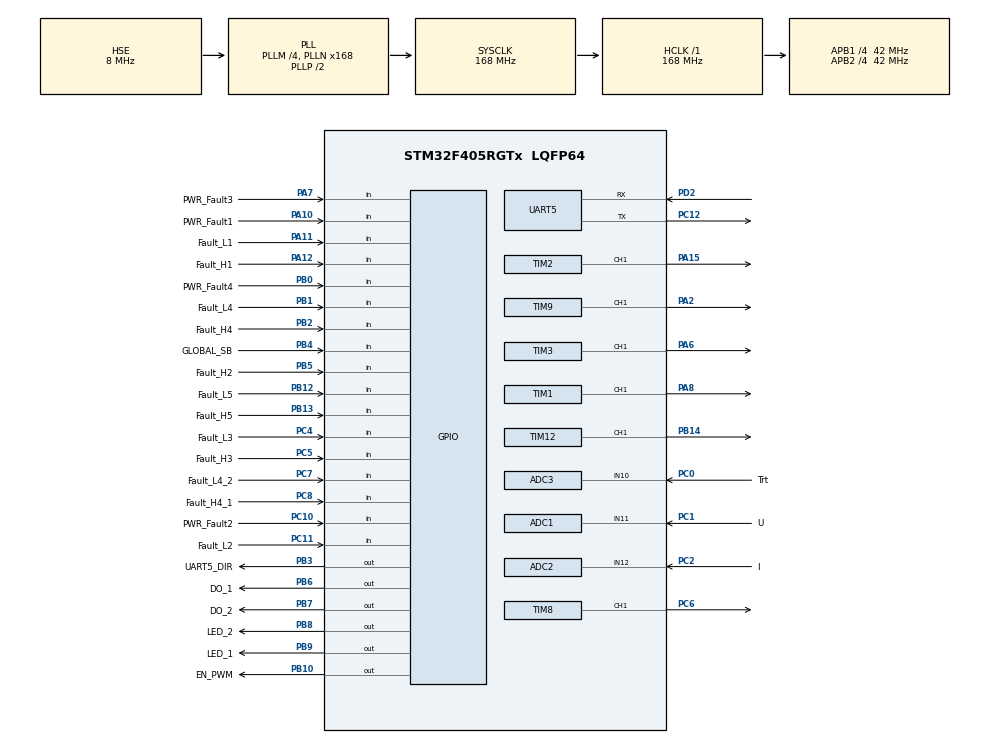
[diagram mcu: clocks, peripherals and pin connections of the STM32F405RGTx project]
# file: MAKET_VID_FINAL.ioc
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ADC1.Channel-6\#ChannelRegularConversion=ADC_CHANNEL_11
ADC1.DMAContinuousRequests=ENABLE
ADC1.ExternalTrigConv=ADC_EXTERNALTRIGCONV_T4_CC4
ADC1.Mode=ADC_TRIPLEMODE_REGSIMULT
ADC1.NbrOfConversionFlag=1
ADC1.Rank-6\#ChannelRegularConversion=1
ADC1.SamplingTime-6\#ChannelRegularConversion=ADC_SAMPLETIME_3CYCLES
ADC1.ScanConvMode=ENABLE
ADC1.master=1
ADC2.Channel-0\#ChannelRegularConversion=ADC_CHANNEL_12
ADC2.ClockPrescaler=ADC_CLOCK_SYNC_PCLK_DIV2
ADC2.ContinuousConvMode=DISABLE
ADC2.DMAAccessMode=ADC_DMAACCESSMODE_1
ADC2.DMAContinuousRequests=DISABLE
ADC2.Mode=ADC_TRIPLEMODE_REGSIMULT
ADC2.NbrOfConversion=1
ADC2.NbrOfConversionFlag=1
ADC2.Rank-0\#ChannelRegularConversion=1
ADC2.SamplingTime-0\#ChannelRegularConversion=ADC_SAMPLETIME_3CYCLES
ADC2.ScanConvMode=ENABLE
ADC3.Channel-0\#ChannelRegularConversion=ADC_CHANNEL_10
ADC3.DMAAccessMode=ADC_DMAACCESSMODE_1
ADC3.Mode=ADC_TRIPLEMODE_REGSIMULT
ADC3.NbrOfConversion=1
ADC3.NbrOfConversionFlag=1
ADC3.Rank-0\#ChannelRegularConversion=1
ADC3.SamplingTime-0\#ChannelRegularConversion=ADC_SAMPLETIME_3CYCLES
Dma.ADC1.0.Direction=DMA_PERIPH_TO_MEMORY
Dma.ADC1.0.FIFOMode=DMA_FIFOMODE_DISABLE
Dma.ADC1.0.Instance=DMA2_Stream0
Dma.ADC1.0.MemDataAlignment=DMA_MDATAALIGN_HALFWORD
Dma.ADC1.0.MemInc=DMA_MINC_ENABLE
Dma.ADC1.0.Mode=DMA_CIRCULAR
Dma.ADC1.0.PeriphDataAlignment=DMA_PDATAALIGN_HALFWORD
Dma.ADC1.0.PeriphInc=DMA_PINC_DISABLE
Dma.ADC1.0.Priority=DMA_PRIORITY_LOW
Dma.Request0=ADC1
Mcu.Family=STM32F4
Mcu.Name=STM32F405RGTx
Mcu.Package=LQFP64
NVIC.PriorityGroup=NVIC_PRIORITYGROUP_4
NVIC.TIM1_CC_IRQn=true\:0\:0\:false\:false\:true\:true\:true\:true
NVIC.TIM1_UP_TIM10_IRQn=true\:1\:0\:true\:false\:true\:true\:true\:true
NVIC.TIM8_CC_IRQn=true\:0\:0\:false\:false\:true\:true\:true\:true
NVIC.TIM8_UP_TIM13_IRQn=true\:1\:0\:true\:false\:true\:true\:true\:true
NVIC.UART5_IRQn=true\:4\:0\:true\:false\:true\:true\:true\:true
PA10.GPIO_Label=PWR_Fault1
PA10.Signal=GPIO_Input
PA11.GPIO_Label=Fault_L1
PA11.Signal=GPIO_Input
PA12.GPIO_Label=Fault_H1
PA12.Signal=GPIO_Input
PA13.Mode=Serial_Wire
PA13.Signal=SYS_JTMS-SWDIO
PA14.Mode=Serial_Wire
PA14.Signal=SYS_JTCK-SWCLK
PA15.GPIO_ModeDefaultPP=GPIO_MODE_AF_PP
PA15.Signal=S_TIM2_CH1_ETR
PA2.GPIO_ModeDefaultPP=GPIO_MODE_AF_PP
PA2.Signal=S_TIM9_CH1
PA6.Signal=S_TIM3_CH1
PA7.GPIO_Label=PWR_Fault3
PA7.Signal=GPIO_Input
PA8.GPIO_PuPd=GPIO_NOPULL
PA8.Signal=S_TIM1_CH1
PB0.GPIO_Label=PWR_Fault4
PB0.Signal=GPIO_Input
PB1.GPIO_Label=Fault_L4
PB1.Signal=GPIO_Input
PB10.GPIO_Label=EN_PWM
PB10.Signal=GPIO_Output
PB12.GPIO_Label=Fault_L5
PB12.Signal=GPIO_Input
PB13.GPIO_Label=Fault_H5
PB13.Signal=GPIO_Input
PB14.Signal=S_TIM12_CH1
PB2.GPIO_Label=Fault_H4
PB2.Signal=GPIO_Input
PB3.GPIO_Label=UART5_DIR
PB3.GPIO_PuPd=GPIO_NOPULL
PB3.Signal=GPIO_Output
PB4.GPIO_Label=GLOBAL_SB
PB4.Signal=GPIO_Input
PB5.GPIO_Label=Fault_H2
PB5.Signal=GPIO_Input
PB6.GPIO_Label=DO_1
PB6.Signal=GPIO_Output
PB7.GPIO_Label=DO_2
PB7.Signal=GPIO_Output
PB8.GPIO_Label=LED_2
PB8.Signal=GPIO_Output
PB9.GPIO_Label=LED_1
PB9.Signal=GPIO_Output
PC0.GPIO_Label=Trt
PC0.Signal=ADCx_IN10
PC1.GPIO_Label=U
PC1.Signal=ADCx_IN11
PC10.GPIO_Label=PWR_Fault2
PC10.Signal=GPIO_Input
PC11.GPIO_Label=Fault_L2
PC11.Signal=GPIO_Input
PC12.Mode=Asynchronous
PC12.Signal=UART5_TX
PC2.GPIO_Label=I
PC2.Signal=ADCx_IN12
PC4.GPIO_Label=Fault_L3
PC4.Signal=GPIO_Input
PC5.GPIO_Label=Fault_H3
PC5.Signal=GPIO_Input
PC6.Signal=S_TIM8_CH1
PC7.GPIO_Label=Fault_L4_2
PC7.Signal=GPIO_Input
PC8.GPIO_Label=Fault_H4_1
PC8.Signal=GPIO_Input
PD2.Mode=Asynchronous
PD2.Signal=UART5_RX
PH0-OSC_IN.Mode=HSE-External-Oscillator
PH0-OSC_IN.Signal=RCC_OSC_IN
PH1-OSC_OUT.Mode=HSE-External-Oscillator
PH1-OSC_OUT.Signal=RCC_OSC_OUT
ProjectManager.HeapSize=0x200
ProjectManager.StackSize=0x400
ProjectManager.TargetToolchain=STM32CubeIDE
RCC.48MHZClocksFreq_Value=84000000
RCC.AHBFreq_Value=168000000
RCC.APB1CLKDivider=RCC_HCLK_DIV4
RCC.APB1Freq_Value=42000000
RCC.APB1TimFreq_Value=84000000
RCC.APB2CLKDivider=RCC_HCLK_DIV4
RCC.APB2Freq_Value=42000000
RCC.APB2TimFreq_Value=84000000
RCC.CortexFreq_Value=168000000
RCC.HCLKFreq_Value=168000000
RCC.HSE_VALUE=8000000
RCC.HSI_VALUE=16000000
RCC.LSE_VALUE=32768
RCC.PLLM=4
RCC.PLLN=168
RCC.PLLSourceVirtual=RCC_PLLSOURCE_HSE
RCC.SYSCLKFreq_VALUE=168000000
RCC.SYSCLKSource=RCC_SYSCLKSOURCE_PLLCLK
RCC.VCOOutputFreq_Value=336000000
SH.ADCx_IN10.0=ADC3_IN10,IN10
SH.ADCx_IN11.0=ADC1_IN11,IN11
SH.ADCx_IN12.0=ADC2_IN12,IN12
SH.S_TIM12_CH1.0=TIM12_CH1,PWM Generation1 CH1
SH.S_TIM1_CH1.0=TIM1_CH1,PWM Generation1 CH1
SH.S_TIM2_CH1_ETR.0=TIM2_CH1,PWM Generation1 CH1
SH.S_TIM3_CH1.0=TIM3_CH1,PWM Generation1 CH1
SH.S_TIM8_CH1.0=TIM8_CH1,PWM Generation1 CH1
SH.S_TIM9_CH1.0=TIM9_CH1,PWM Generation1 CH1
TIM1.BreakState=TIM_BREAK_DISABLE
TIM1.Channel-PWM\ Generation1\ CH1=TIM_CHANNEL_1
TIM1.CounterMode=TIM_COUNTERMODE_UP
TIM1.OCIdleState_1=TIM_OCIDLESTATE_RESET
TIM1.OCPolarity_1=TIM_OCPOLARITY_HIGH
TIM1.Period=8400-1
TIM1.Prescaler=4-1
TIM1.TIM_MasterOutputTrigger=TIM_TRGO_ENABLE
TIM1.TIM_MasterSlaveMode=TIM_MASTERSLAVEMODE_DISABLE
TIM12.Channel-PWM\ Generation1\ CH1=TIM_CHANNEL_1
TIM12.Period=4200-1
TIM12.Prescaler=4-1
TIM2.Channel-PWM\ Generation1\ CH1=TIM_CHANNEL_1
TIM2.OCPolarity_1=TIM_OCPOLARITY_HIGH
TIM2.Period=8400-1
TIM2.Prescaler=4-1
TIM3.Channel-PWM\ Generation1\ CH1=TIM_CHANNEL_1
TIM3.Period=8400-1
TIM3.Prescaler=4-1
TIM4.Channel-Output\ Compare4\ No\ Output=TIM_CHANNEL_4
TIM4.OCMode_4=TIM_OCMODE_TOGGLE
TIM4.Period=8400-1
TIM4.Prescaler=4-1
TIM8.Channel-PWM\ Generation1\ CH1=TIM_CHANNEL_1
TIM8.Period=4200-1
TIM8.Prescaler=4-1
TIM9.Channel-PWM\ Generation1\ CH1=TIM_CHANNEL_1
TIM9.OCPolarity_1=TIM_OCPOLARITY_HIGH
TIM9.Period=8400-1
TIM9.Prescaler=4-1
UART5.VirtualMode=Asynchronous
VP_TIM12_VS_ClockSourceINT.Mode=Internal
VP_TIM1_VS_ClockSourceINT.Mode=Internal
VP_TIM2_VS_ClockSourceINT.Mode=Internal
VP_TIM3_VS_ClockSourceINT.Mode=Internal
VP_TIM4_VS_ClockSourceINT.Mode=Internal
VP_TIM4_VS_ClockSourceITR.Mode=TriggerSource_ITR0
VP_TIM4_VS_ControllerModeGated.Mode=Gated Mode
VP_TIM4_VS_no_output4.Mode=Output Compare4 No Output
VP_TIM8_VS_ClockSourceINT.Mode=Internal
VP_TIM9_VS_ClockSourceINT.Mode=Internal
board=custom

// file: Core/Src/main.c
/* USER CODE BEGIN Header */
/**
 ******************************************************************************
 * @file           : main.c
 * @brief          : Main program body
 ******************************************************************************
 * @attention
 *
 * Copyright (c) 2024 STMicroelectronics.
 * All rights reserved.
 *
 * This software is licensed under terms that can be found in the LICENSE file
 * in the root directory of this software component.
 * If no LICENSE file comes with this software, it is provided AS-IS.
 *
 ******************************************************************************
 */
/* USER CODE END Header */
#include "main.h"
#include "adc.h"
#include "dma.h"
#include "tim.h"
#include "usart.h"
#include "gpio.h"

/* USER CODE BEGIN PV */
uint16_t dout_state_mdb = 0;

uint32_t LED_1_cnt;

uint16_t U_DC_buf[MEAN_BUF_SIZE];
uint32_t U_DC_sum;
uint32_t U_DC_mean;

uint16_t I_DC_buf[MEAN_BUF_SIZE];
uint32_t I_DC_sum;
uint32_t I_DC_mean;

int32_t EEPROM_Start_Cnt;
//Definition of non-bloking timers
TIM_NB_TypeDef main_timer;
TIM_NB_TypeDef modbus_timer;

float zad_freq = PFM_MAX_FREQ;
float zad_u = 0;
float targ_u = 0;
float zad_u_PC = 0;
float down_targ_volt = DOWN_TARGET_VOLT;
float zad_phase = 90;
float zad_phase_old = 0;

uint8_t autocomp_enable = 0;
uint8_t PC_Start_flag = 0;
float calc_os_u;

float zad_amp = 0;

float voltage_avg;

Device_State_TypeDef State;
Device_State_TypeDef Old_State;
uint32_t time_tmp;

uint8_t init_err;
uint16_t Device_Error;

uint32_t tmp_ch2_phase = SOFTSW_CH2_PHASE;
uint32_t tmp_ch3_phase = SOFTSW_CH3_PHASE;
uint32_t tmp_ch4_phase = SOFTSW_CH4_PHASE;

float HardSw_Duty = HARDSW_DUTY;

Button_TypeDef Button_1;
Button_TypeDef PC_Button;

/* USER CODE END PV */

void SystemClock_Config(void);

int main(void)
{

  /* MCU Configuration--------------------------------------------------------*/

  /* Reset of all peripherals, Initializes the Flash interface and the Systick. */
  HAL_Init();

  /* Configure the system clock */
  SystemClock_Config();

  /* Initialize all configured peripherals */
  MX_GPIO_Init();
  MX_DMA_Init();
  MX_TIM1_Init();
  MX_TIM3_Init();
  MX_ADC1_Init();
  MX_ADC2_Init();
  MX_TIM2_Init();
  MX_TIM9_Init();
  MX_TIM8_Init();
  MX_TIM12_Init();
  MX_ADC3_Init();
  MX_UART5_Init();
  MX_TIM4_Init();
  /* USER CODE BEGIN 2 */

	//Неблокирующий таймер выполнения основного кода
	TIM_NB_Init(&main_timer, 1, main_timer_function);
	TIM_NB_Start(&main_timer, MULTIPLE_DELAY);
	//Неблокирующий таймер для работы модбас
	TIM_NB_Init(&modbus_timer, 10, modbus_timer_function);
	TIM_NB_Start(&modbus_timer, MULTIPLE_DELAY);

	//Modbus инициализация
	ModbusRTU_Init();

	//Задежка инициализации
	HAL_Delay(500);

  /* USER CODE END 2 */

  /* Infinite loop */
	while (1) {

    /* USER CODE BEGIN 3 */
		TIM_NB_Check(&main_timer);
		TIM_NB_Check(&modbus_timer);
	}
  /* USER CODE END 3 */
}

void SystemClock_Config(void)
{
  RCC_OscInitTypeDef RCC_OscInitStruct = {0};
  RCC_ClkInitTypeDef RCC_ClkInitStruct = {0};

  /** Configure the main internal regulator output voltage
  */
  __HAL_RCC_PWR_CLK_ENABLE();
  __HAL_PWR_VOLTAGESCALING_CONFIG(PWR_REGULATOR_VOLTAGE_SCALE1);

  /** Initializes the RCC Oscillators according to the specified parameters
  * in the RCC_OscInitTypeDef structure.
  */
  RCC_OscInitStruct.OscillatorType = RCC_OSCILLATORTYPE_HSE;
  RCC_OscInitStruct.HSEState = RCC_HSE_ON;
  RCC_OscInitStruct.PLL.PLLState = RCC_PLL_ON;
  RCC_OscInitStruct.PLL.PLLSource = RCC_PLLSOURCE_HSE;
  RCC_OscInitStruct.PLL.PLLM = 4;
  RCC_OscInitStruct.PLL.PLLN = 168;
  RCC_OscInitStruct.PLL.PLLP = RCC_PLLP_DIV2;
  RCC_OscInitStruct.PLL.PLLQ = 4;
  if (HAL_RCC_OscConfig(&RCC_OscInitStruct) != HAL_OK)
  {
    Error_Handler();
  }

  /** Initializes the CPU, AHB and APB buses clocks
  */
  RCC_ClkInitStruct.ClockType = RCC_CLOCKTYPE_HCLK|RCC_CLOCKTYPE_SYSCLK
                              |RCC_CLOCKTYPE_PCLK1|RCC_CLOCKTYPE_PCLK2;
  RCC_ClkInitStruct.SYSCLKSource = RCC_SYSCLKSOURCE_PLLCLK;
  RCC_ClkInitStruct.AHBCLKDivider = RCC_SYSCLK_DIV1;
  RCC_ClkInitStruct.APB1CLKDivider = RCC_HCLK_DIV4;
  RCC_ClkInitStruct.APB2CLKDivider = RCC_HCLK_DIV4;

  if (HAL_RCC_ClockConfig(&RCC_ClkInitStruct, FLASH_LATENCY_5) != HAL_OK)
  {
    Error_Handler();
  }
}

/* USER CODE BEGIN 4 */

void HAL_TIM_PeriodElapsedCallback(TIM_HandleTypeDef *htim) {

	if (htim == &htim8) {

		//Регуляторы и рампы работают в прерывании таймера
		//потому что SysTick не обеспечивает малые постоянные времени
		if(State == Work){
			//Ramp_Process(&Ramp_Freq);
			Ramp_Process(&Ramp_Amp);
			Regulator_Process(&Reg_U);

		}

	}

}

void SoftSw_PWM_Channels_OFF(void) {
	//Функция для снятия Ш ?Ма на резонансные преобразователи

	TIM_CCxChannelCmd(TIM1, TIM_CHANNEL_1, TIM_CCx_DISABLE);
	TIM_CCxChannelCmd(TIM2, TIM_CHANNEL_1, TIM_CCx_DISABLE);
	TIM_CCxChannelCmd(TIM3, TIM_CHANNEL_1, TIM_CCx_DISABLE);
	TIM_CCxChannelCmd(TIM9, TIM_CHANNEL_1, TIM_CCx_DISABLE);

	TIM1->BDTR &= ~(TIM_BDTR_MOE);
	TIM1->BDTR &= ~(TIM_BDTR_OSSI);
	TIM2->BDTR &= ~(TIM_BDTR_MOE);
	TIM2->BDTR &= ~(TIM_BDTR_OSSI);
	TIM3->BDTR &= ~(TIM_BDTR_MOE);
	TIM3->BDTR &= ~(TIM_BDTR_OSSI);
	TIM9->BDTR &= ~(TIM_BDTR_MOE);
	TIM9->BDTR &= ~(TIM_BDTR_OSSI);

}

void SoftSw_PWM_Channels_ON(void) {
	//Функция для выдачи ШиМа на резонансные преобразователи

	TIM_CCxChannelCmd(TIM1, TIM_CHANNEL_1, TIM_CCx_ENABLE);
	TIM_CCxChannelCmd(TIM2, TIM_CHANNEL_1, TIM_CCx_ENABLE);
	TIM_CCxChannelCmd(TIM3, TIM_CHANNEL_1, TIM_CCx_ENABLE);
	TIM_CCxChannelCmd(TIM9, TIM_CHANNEL_1, TIM_CCx_ENABLE);

	TIM1->BDTR |= (TIM_BDTR_MOE);
	TIM2->BDTR |= (TIM_BDTR_MOE);
	TIM3->BDTR |= (TIM_BDTR_MOE);
	TIM9->BDTR |= (TIM_BDTR_MOE);

}

void SoftSw_PWM_Channels_UpdateDuty(float New_Duty){

	uint32_t duty_tmp;

	if(New_Duty > 1){
		New_Duty = 1;
	}
	if(New_Duty < 0){
		New_Duty = 0;
	}

	duty_tmp = TIM1->ARR * New_Duty;

	if (TIM1->CCR1 != duty_tmp) {
		//common
		TIM1->CCR1 = duty_tmp;
		TIM2->CCR1 = duty_tmp;
		TIM3->CCR1 = duty_tmp;
		TIM9->CCR1 = duty_tmp;
	}

}

void SoftSw_PWM_Channels_UpdatePhase(uint8_t Tim_Ch_num ,uint32_t New_Phase){

	uint32_t phase_tmp;

	switch(Tim_Ch_num){
	//case TIM_CHANNEL_1:
	//	phase_tmp = TIM1->ARR - (uint32_t) ((((float) TIM1->ARR / 360)) * New_Phase) - ZERO_PHASE;
	//	if(TIM1->CCR1 != phase_tmp){
	//		TIM1->CCR1 = phase_tmp;
	//	}
	//	break;
	case TIM_CHANNEL_2:
		phase_tmp = TIM1->ARR - (uint32_t) ((((float) TIM1->ARR / 360)) * New_Phase) - ZERO_PHASE;
		if(TIM1->CCR2 != phase_tmp){
			TIM1->CCR2 = phase_tmp;
		}
		break;
	case TIM_CHANNEL_3:
		phase_tmp = TIM1->ARR - (uint32_t) ((((float) TIM1->ARR / 360)) * New_Phase) - ZERO_PHASE;
		if(TIM1->CCR3 != phase_tmp){
			TIM1->CCR3 = phase_tmp;
		}
		break;
	case TIM_CHANNEL_4:
		phase_tmp = TIM1->ARR - (uint32_t) ((((float) TIM1->ARR / 360)) * New_Phase) - ZERO_PHASE;
		if(TIM1->CCR4 != phase_tmp){
			TIM1->CCR4 = phase_tmp;
		}
		break;
	default:

		break;
	}

}

void SoftSw_PWM_Channels_UpdateFreq(uint32_t New_Freq){

	uint32_t freq_tmp;

	//Ограничение макс частоты
	if (New_Freq > SOFTSW_MAX_FREQ) {
		New_Freq = SOFTSW_MAX_FREQ;
	}
	//Ограничение мин частоты
	if (New_Freq < SOFTSW_MIN_FREQ) {
		New_Freq = SOFTSW_MIN_FREQ;
	}

	freq_tmp = TIMER_CLK_FREQ / New_Freq;

	if(TIM1->ARR != freq_tmp){
		TIM1->ARR = freq_tmp;
		TIM2->ARR = freq_tmp;
		TIM3->ARR = freq_tmp;
		TIM9->ARR = freq_tmp;
		//АЦП!
		TIM4->ARR = freq_tmp;

		if(TIM1->CNT >= TIM1->ARR){
			TIM1->CNT = 0;
		}
		if(TIM2->CNT >= TIM2->ARR){
			TIM2->CNT = 0;
		}
		if(TIM3->CNT >= TIM3->ARR){
			TIM3->CNT = 0;
		}
		if(TIM9->CNT >= TIM9->ARR){
			TIM9->CNT = 0;
		}
		if(TIM4->CNT >= TIM4->ARR){
			TIM4->CNT = 0;
		}
	}

}

void HardSw_PWM_Channels_ON(void) {
	//Эта функция нужна для усправления выдачей импульсов 8 таймера

	TIM_CCxChannelCmd(TIM8, TIM_CHANNEL_1, TIM_CCx_ENABLE);
	//TIM_CCxChannelCmd(TIM12, TIM_CHANNEL_1, TIM_CCx_ENABLE);

	TIM8->BDTR |= (TIM_BDTR_MOE);
	//TIM12->BDTR |= (TIM_BDTR_MOE);

}
void HardSw_PWM_Channels_OFF(void) {
	//Эта функция нужна для усправления выдачей импульсов 8 таймера

	TIM_CCxChannelCmd(TIM8, TIM_CHANNEL_1, TIM_CCx_DISABLE);
	TIM_CCxChannelCmd(TIM12, TIM_CHANNEL_1, TIM_CCx_DISABLE);

	TIM8->BDTR &= ~(TIM_BDTR_MOE);
	TIM8->BDTR &= ~(TIM_BDTR_OSSI);
	TIM12->BDTR &= ~(TIM_BDTR_MOE);
	TIM12->BDTR &= ~(TIM_BDTR_OSSI);
}

void HardSw_PWM_Channels_UpdateDuty(float New_Duty){

	uint32_t duty_tmp;

	if(New_Duty > 1){
		New_Duty = 1;
	}
	if(New_Duty < 0){
		New_Duty = 0;
	}

	duty_tmp = TIM8->ARR * New_Duty;

	if (TIM8->CCR1 != duty_tmp) {
		//common
		TIM8->CCR1 = duty_tmp;
		TIM12->CCR1 = duty_tmp;
	}

}

void HardSw_PWM_Channels_UpdatePhase(uint8_t Tim_Ch_num ,uint32_t New_Phase){

	uint32_t phase_tmp;

	switch(Tim_Ch_num){
	//case TIM_CHANNEL_1:
	//	phase_tmp = TIM8->ARR - (uint32_t) ((((float) TIM8->ARR / 360)) * New_Phase) - ZERO_PHASE;
	//	if(TIM8->CCR1 != phase_tmp){
	//		TIM8->CCR1 = phase_tmp;
	//	}
	//	break;
	case TIM_CHANNEL_2:
		phase_tmp = TIM8->ARR - (uint32_t) ((((float) TIM8->ARR / 360)) * New_Phase) - ZERO_PHASE;
		if(TIM8->CCR2 != phase_tmp){
			TIM8->CCR2 = phase_tmp;
		}
		break;
	case TIM_CHANNEL_3:
		phase_tmp = TIM8->ARR - (uint32_t) ((((float) TIM8->ARR / 360)) * New_Phase) - ZERO_PHASE;
		if(TIM8->CCR3 != phase_tmp){
			TIM8->CCR3 = phase_tmp;
		}
		break;
	case TIM_CHANNEL_4:
		phase_tmp = TIM8->ARR - (uint32_t) ((((float) TIM8->ARR / 360)) * New_Phase) - ZERO_PHASE;
		if(TIM8->CCR4 != phase_tmp){
			TIM8->CCR4 = phase_tmp;
		}
		break;
	default:

		break;
	}

}

void HardSw_PWM_Channels_UpdateFreq(uint32_t New_Freq){

	uint32_t freq_tmp;

	//Ограничение макс частоты
	if (New_Freq > HARDSW_MAX_FREQ) {
		New_Freq = HARDSW_MAX_FREQ;
	}
	//Ограничение мин частоты
	if (New_Freq < HARDSW_MIN_FREQ) {
		New_Freq = HARDSW_MIN_FREQ;
	}

	freq_tmp = TIMER_CLK_FREQ / New_Freq;

	if(TIM8->ARR != freq_tmp){
		TIM8->ARR = freq_tmp;
		TIM12->ARR = freq_tmp;

		if(TIM8->CNT >= TIM8->ARR){
			TIM8->CNT = 0;
		}
		if(TIM12->CNT >= TIM12->ARR){
			TIM12->CNT = 0;
		}
	}

}

void main_timer_function() {

	//Основная функция, где крутится вся логика

	//расчет среднего значения датчиков
	//для фильтрации
	MEAN_Signal(&U_mean, &U_Value, &U_mean_sum, U_mean_buf, MEAN_BUF_SIZE);
	MEAN_Signal(&I_mean, &I_Value, &I_mean_sum, I_mean_buf, MEAN_BUF_SIZE);

	//функции считывания входов и выдачи сигналов на выходы
	HW_Driver_DI_AI_Read();
	HW_Driver_DO_PWM_Out();

	//Светодиодная индикация состояния
	Device_Indication_Process();

	//Проверка ошибок
	if(CHECK_ERROR_EN){
		Device_Check_Error();
	}

	if(Device_Error > 0){
		State = Stop;
	}

	//По этому флагу разрешается работа доп стойки для жесткой коммутациии
	EN_OS_State = 1; // СМ�?РНОВ СКАЗАЛ ТАК НАДО!!!!
	if(EN_OS_State){
		autocomp_enable = 1;
	} else {
		autocomp_enable = 0;
	}

	//Основная стейт машина
	switch (State) {

	case Init:

		//не имеет смысла
		if(State != Old_State){
			time_tmp = millis();
			Old_State = State;
		}

		Button_1.State = &But_1_State;
		Button_1.delay = SB1_T_DELAY;
		Button_1.Old_State = OFF;
		Button_1.cnt = 0;

		PC_Button.State = &PC_Start_flag;
		PC_Button.delay = 100;
		PC_Button.Old_State = OFF;
		PC_Button.cnt = 0;

		init_err = Periph_Init();

		// инициализация рамп и регуляторов
		//Работают сейчас
		Ramp_Init(&Ramp_Amp, &zad_u, HV_MAX_VOLT, 0, 10, 1);
		Regulator_Init(&Reg_U, &Ramp_Amp.Out, &calc_os_u, 0.0005, 0.005, 0.8, 0, 0.8, 0);
		// Regulator_Init(&Reg_U, &Ramp_Amp.Out, &U_Instant, 0.0005, 0.005, 0.8, 0, 0.8, 0);
        // Regulator_Init(&Reg_U, &zad_u, &U_Instant, 0.0005, 0.005, 0.8, 0, 0.8, 0); // ТЕСТ
		//Не работают
		Ramp_Init(&Ramp_Freq, &zad_freq, PFM_MAX_FREQ, PFM_MIN_FREQ, 40, 1);
		Ramp_Init(&Ramp_Phase, &zad_phase, PFM_MAX_PHASE, PFM_MIN_PHASE, 1, 100);

		//Конфигурируем регистры таймеров на работу с нужной частотой
		SoftSw_PWM_Channels_UpdateFreq(SOFTSW_FREQ);
		SoftSw_PWM_Channels_UpdatePhase(TIM_CHANNEL_2, SOFTSW_CH2_PHASE);
		SoftSw_PWM_Channels_UpdatePhase(TIM_CHANNEL_3, SOFTSW_CH3_PHASE);
		SoftSw_PWM_Channels_UpdatePhase(TIM_CHANNEL_4, SOFTSW_CH4_PHASE);
		SoftSw_PWM_Channels_UpdateDuty(0);
		SoftSw_PWM_Channels_OFF();

		//Мне удобно так его проконфигурировать и потом выключить шим
		HardSw_PWM_Channels_UpdateFreq(HARDSW_FREQ);
		HardSw_PWM_Channels_UpdatePhase(TIM_CHANNEL_2, HARDSW_CH2_PHASE);
		HardSw_PWM_Channels_UpdateDuty(0);
		HardSw_PWM_Channels_OFF();

		if (init_err == 0) {
			State = Wait;
		} else {
			State = Error;
		}

		break;

	case Wait:

		if(ST_WAIT_EN){
			if(State != Old_State){
				time_tmp = millis();
				Old_State = State;
			}

			Button_Control(&Button_1, PreCharge);
			Button_Control(&PC_Button, PreCharge);

		} else {
			State = PreCharge;
		}

		break;

	case PreCharge:

		if(ST_PRECHARGE_EN){
			if(State != Old_State){
				time_tmp = millis();
				Old_State = State;
				DO_1_State = ON;
				DO_2_State = OFF;
			}

			Button_Control(&Button_1, Stop);
			Button_Control(&PC_Button, Stop);

			if(millis() - time_tmp >= T_PRECHARGE){
				DO_2_State = ON;
				time_tmp = millis();
			}

			if((millis() - time_tmp >= 500) && (DO_2_State == ON)){
				//DO_1_State = OFF; ВЫКЛЮЧАТЬ НЕ НУЖНО, Т.К. ПЕРЕДЕЛАЛ�? СХЕМУ ДЛЯ ЗАРЯДА КОНДЕНСАТОРОВ
				State = Delay;
			}

		} else {
			State = Delay;
		}

		break;

	case Delay:

		if(ST_DELAY_EN){
			if(State != Old_State){
				time_tmp = millis();
				Old_State = State;
			}

			Button_Control(&Button_1, Stop);
			Button_Control(&PC_Button, Stop);

			if(millis() - time_tmp >= T_DELAY){
				State = Work;
			}
		} else {
			State = Work;
		}

		break;

	case Work:

		if(ST_WORK_EN){
			if(State != Old_State){
				time_tmp = millis();

				EN_PWM_State = ON;

				//Включение шима
				if(SOFT_SW_EN){
					SoftSw_PWM_Channels_ON();
					SoftSw_PWM_Channels_UpdateDuty(SOFTSW_DUTY);
				}

				if(HARD_SW_EN){
					HardSw_PWM_Channels_ON();
					HardSw_PWM_Channels_UpdateDuty(HARDSW_DUTY);
				}

				Old_State = State;
			}

			//SoftSw_PWM_Channels_UpdatePhase(TIM_CHANNEL_2, tmp_ch2_phase);
			//SoftSw_PWM_Channels_UpdatePhase(TIM_CHANNEL_3, tmp_ch3_phase);
			//SoftSw_PWM_Channels_UpdatePhase(TIM_CHANNEL_4, tmp_ch4_phase);

			if(HARD_SW_EN)
			{
				//Разомкнутая система
				//HardSw_PWM_Channels_UpdateDuty(HardSw_Duty);

				//Замкнутая система
				HardSw_PWM_Channels_UpdateDuty(Reg_U.Out);

				if(millis() - time_tmp >= T_DELAY_WORK)
				{

					if(autocomp_enable)
					{
						if(targ_u != zad_u)
						{
							zad_u = targ_u;
						}
					}
					else
					{
						if(zad_u_PC != zad_u)
						{
							zad_u = zad_u_PC;
						}
					}

					if(zad_u >= HV_MAX_VOLT)
					{
						zad_u = HV_MAX_VOLT;
					}

					//targ_u = DOWN_TARGET_VOLT*DOWN_TV_KOEF;
					targ_u = down_targ_volt*DOWN_TV_KOEF;
				}
			}

			Button_Control(&Button_1, Stop);
			Button_Control(&PC_Button, Stop);

		} else {
			State = Stop;
		}

		break;

	case Stop:

		if(ST_STOP_EN){

			if(State != Old_State){
				time_tmp = millis();

				EN_PWM_State = OFF;
				//Отключение шима
				SoftSw_PWM_Channels_OFF();
				SoftSw_PWM_Channels_UpdateDuty(0);

				HardSw_PWM_Channels_OFF();
				HardSw_PWM_Channels_UpdateDuty(0);

				Ramp_Clear(&Ramp_Amp);
				//zad_amp = 0;

				zad_u = 0;
				Regulator_Clear(&Reg_U);

				DO_1_State = OFF;
				DO_2_State = OFF;

				Old_State = State;
			}

			if(Device_Error > 0){
				State = Error;
			} else {
				if(millis() - time_tmp >= T_STOP){
					State = Wait;
				}
			}

		} else {
			State = Wait;
		}

		break;

	case Error:

		if(ST_ERROR_EN){

			if(DO_1_State){
				DO_1_State = OFF;
			}

			if(DO_2_State){
				DO_2_State = OFF;
			}

			if(EN_PWM_State){
				EN_PWM_State = OFF;
			}

			//На всякий случай ещё раз выключаем шим
			SoftSw_PWM_Channels_OFF();
			SoftSw_PWM_Channels_UpdateDuty(0);

			HardSw_PWM_Channels_OFF();
			HardSw_PWM_Channels_UpdateDuty(0);

			if(Device_Error == 0){
				State = Wait;
			}

		} else {
			State = Wait;
		}

		break;

	default:
		break;

	}

}

void modbus_timer_function() {
	// обновление регистров MDB
	ModbusRTU_update_reg();
}

//-----NON BLOKING TIMER--------------------------------------------------------------------------
void TIM_NB_Init(TIM_NB_TypeDef *timer, uint32_t delay, void (*funptr)) {

	timer->delay = delay;
	timer->function = funptr;
}

void TIM_NB_Start(TIM_NB_TypeDef *timer, uint8_t mode) {

	if (timer->delay != 0) {
		timer->counter = millis();
		timer->state = mode;
	}
}

void TIM_NB_Stop(TIM_NB_TypeDef *timer) {

	if (timer->state != STOPPED) {
		timer->state = STOPPED;
	}
}

void TIM_NB_Check(TIM_NB_TypeDef *timer) {

	if (timer->state != STOPPED) {
		if (HAL_GetTick() - timer->counter >= timer->delay) {
			switch (timer->state) {
			case SINGLE_DELAY:
				timer->state = STOPPED;
				timer->counter = 0;
				timer->function();
				break;
			case MULTIPLE_DELAY:
				timer->counter = HAL_GetTick();
				timer->function();
				break;
			}
		}
	}
}

uint32_t millis() {
	return HAL_GetTick();
}
//-----NON BLOKING TIMER--------------------------------------------------------------------------

void LED_Control(LED_CMD_TypeDef Cmd, uint32_t Blink_Period, enum_state *LED_Name, uint32_t *LED_cnt) {

	if (Cmd == LED_OFF) {
		*LED_Name = OFF;
	} else if (Cmd == LED_ON) {
		*LED_Name = ON;
	} else if (Cmd == LED_BLINK) {
		if (HAL_GetTick() - *LED_cnt >= Blink_Period) {
			*LED_cnt = HAL_GetTick();
			if (*LED_Name == ON) {
				*LED_Name = OFF;
			} else {
				*LED_Name = ON;
			}
		}
	}

}

void Button_Control(Button_TypeDef *Button, uint8_t Target_state){

	if((*Button->State == ON) && (Button->Old_State == OFF)){
		if(millis() - Button->cnt >= Button->delay){
			Button->Old_State = ON;
			State = Target_state;
		}
	} else {
		if(*Button->State == OFF){
			Button->Old_State = OFF;
		}
		Button->cnt = millis();
	}

}

void Device_Indication_Process(){

	if (State == Work)
		LED_Control(LED_ON, 0, &LED_1_State, &LED_1_Cnt);
	else if ((State == Delay) || (State == PreCharge))
		LED_Control(LED_BLINK, 100, &LED_1_State, &LED_1_Cnt);
	else if (State == Wait)
		LED_Control(LED_BLINK, 500, &LED_1_State, &LED_1_Cnt);
	else if (State == Error)
		LED_Control(LED_OFF, 0, &LED_1_State, &LED_1_Cnt);
	else
		LED_Control(LED_OFF, 0, &LED_1_State, &LED_1_Cnt);

}

void Device_Check_Error(void){

	//Ошибка датчика тока
	if(CHECK_I_SENS_EN){
		if(I_Value < I_SENSOR_MIN_ADC){
			BIT_SET(Device_Error, 0);
		} else {
			//BIT_RESET(Device_Error, 0);
		}
		if(I_Value > I_SENSOR_MAX_ADC){
			BIT_SET(Device_Error, 0);
		} else {
			//BIT_RESET(Device_Error, 0);
		}
	}

	//Ошибки первого драйвера
	if(CHECK_DRW1_EN){
		if(CHECK_DRW_PWR){
			if(PWR_Fault1_State){
				BIT_SET(Device_Error, 1);
			}else {
				//BIT_RESET(Device_Error, 1);
			}
		}
		if(CHECK_DRW_HW){
			if(Fault_H1_State){
				BIT_SET(Device_Error, 6);
			}else {
				//BIT_RESET(Device_Error, 6);
			}
			if(Fault_L1_State){
				BIT_SET(Device_Error, 7);
			}else {
				//BIT_RESET(Device_Error, 7);
			}
		}
	}

	//Ошибки второго драйвера
	if(CHECK_DRW2_EN){
		if(CHECK_DRW_PWR){
			if(PWR_Fault2_State){
				BIT_SET(Device_Error, 2);
			}else {
				//BIT_RESET(Device_Error, 2);
			}
		}
		if(CHECK_DRW_HW){
			if(Fault_H2_State){
				BIT_SET(Device_Error, 8);
			}else {
				//BIT_RESET(Device_Error, 8);
			}
			if(Fault_L2_State){
				BIT_SET(Device_Error, 9);
			}else {
				//BIT_RESET(Device_Error, 9);
			}
		}
	}

	//Ошибки третьего драйвера
	if(CHECK_DRW3_EN){
		if(CHECK_DRW_PWR){
			if(PWR_Fault3_State){
				BIT_SET(Device_Error, 3);
			}else {
				//BIT_RESET(Device_Error, 3);
			}
		}
		if(CHECK_DRW_HW){
			if(Fault_H3_State){
				BIT_SET(Device_Error, 10);
			}else {
				//BIT_RESET(Device_Error, 10);
			}
			if(Fault_L3_State){
				BIT_SET(Device_Error, 11);
			}else {
				//BIT_RESET(Device_Error, 11);
			}
		}
	}

	//Ошибки четвертого драйвера
	if(CHECK_DRW4_EN){
		if(CHECK_DRW_PWR){
			if(PWR_Fault4_State){
				BIT_SET(Device_Error, 4);
			}else {
				//BIT_RESET(Device_Error, 4);
			}
		}
		if(CHECK_DRW_HW){
			if(Fault_H4_State){
				BIT_SET(Device_Error, 12);
			}else {
				//BIT_RESET(Device_Error, 12);
			}
			if(Fault_H4_1_State){
				BIT_SET(Device_Error, 12);
			}else {
				//BIT_RESET(Device_Error, 12);
			}
			if(Fault_L4_State){
				BIT_SET(Device_Error, 13);
			}else {
				//BIT_RESET(Device_Error, 13);
			}
			if(Fault_L4_2_State){
				BIT_SET(Device_Error, 13);
			}else {
				//BIT_RESET(Device_Error, 13);
			}
		}
	}

	//Ошибки пятого драйвера
	if(CHECK_DRW5_EN){
		if(CHECK_DRW_PWR){
			if(PWR_Fault5_State){
				BIT_SET(Device_Error, 5);
			}else {
				//BIT_RESET(Device_Error, 5);
			}
		}
		if(CHECK_DRW_HW){
			if(Fault_H5_State){
				BIT_SET(Device_Error, 14);
			}else {
				//BIT_RESET(Device_Error, 14);
			}
			if(Fault_L5_State){
				BIT_SET(Device_Error, 15);
			}else {
				//BIT_RESET(Device_Error, 15);
			}
		}
	}

}

void ModbusRTU_Init_AO ()
{
	// Определение переменных AO
	for(uint8_t i = 0; i < ADR_MAX_AO; i++)
	{
		DATA_AO[i] = &DATA_AO_buf[i];
	}
	DATA_AO_buf[1] = down_targ_volt;
}

void ModbusRTU_Init_AI ()
{
	// Определение переменных AI
	for(uint8_t i = 0; i < ADR_MAX_AI; i++)
	{
		DATA_AI[i] = &DATA_AI_buf[i];
	}
}

void ModbusRTU_update_reg()
{
	static uint16_t count = 0;
	int16_t  tmp_int16 = 0;
	uint16_t tmp_uint16 = 0;

	// Read reg mdb
	// State machine for modbus
	switch (State)
	{
	case Init:
		tmp_uint16 = 0b0000000000000001;
		break;
	case Wait:
		tmp_uint16 = 0b0000000000000010;
		break;
	case PreCharge:
		tmp_uint16 = 0b0000000000000100;
		break;
	case Delay:
		tmp_uint16 = 0b0000000000001000;
		break;
	case Work:
		tmp_uint16 = 0b0000000000010000;
		break;
	case Stop:
		tmp_uint16 = 0b0000000000100000;
		break;
	case Error:
		tmp_uint16 = 0b0000000001000000;
		break;
	default:
		break;
	}
	DATA_AI_buf[0] = tmp_uint16;

	// State dout for modbus
	if (DO_1_State)   { tmp_uint16 |=  0b0000000000000001; }
	else              { tmp_uint16 &= ~0b0000000000000001; }

	if (DO_2_State)   { tmp_uint16 |=  0b0000000000000010; }
	else              { tmp_uint16 &= ~0b0000000000000010; }

	if (EN_PWM_State) { tmp_uint16 |=  0b0000000000000100; }
	else              { tmp_uint16 &= ~0b0000000000000100; }
	DATA_AI_buf[1] = tmp_uint16;

	// Erorr
	DATA_AI_buf[2] = Device_Error;

	// U_value
	tmp_int16 = U_Value;
	DATA_AI_buf[3] = (uint16_t)tmp_int16;

	// I_value
	tmp_int16 = I_Value;
	DATA_AI_buf[4] = (uint16_t)tmp_int16;

	// Reg_U.Out
	tmp_int16 = (Reg_U.Out * 1000);
	DATA_AI_buf[5] = (uint16_t)tmp_int16;
	// PC_Start_flag = DATA_AO_buf[0];

	// Zad_U
	tmp_int16 = zad_u;
	DATA_AI_buf[6] = (uint16_t)tmp_int16;

	// U_Instant
	tmp_int16 = U_Instant;
	DATA_AI_buf[7] = (uint16_t)tmp_int16;

	// I_Instant
	tmp_int16 = I_Instant;
	DATA_AI_buf[8] = (uint16_t)tmp_int16;

	// Write reg mdb
	if (DATA_AO_buf[0] == 1)
	{
		PC_Start_flag = 1;
		DATA_AO_buf[0] = 0;
	}
	if ((PC_Start_flag == 1) && (count++ < 300))
	{
		asm("Nop");
	}
	else
	{
		PC_Start_flag = 0;
		count = 0;
	}
//	else
//	{
//		PC_Start_flag = 0;
//	}
	targ_u = DATA_AO_buf[1];
	return;
}

/* USER CODE END 4 */

void Error_Handler(void)
{
	__disable_irq();
	while (1) {
	}
}
